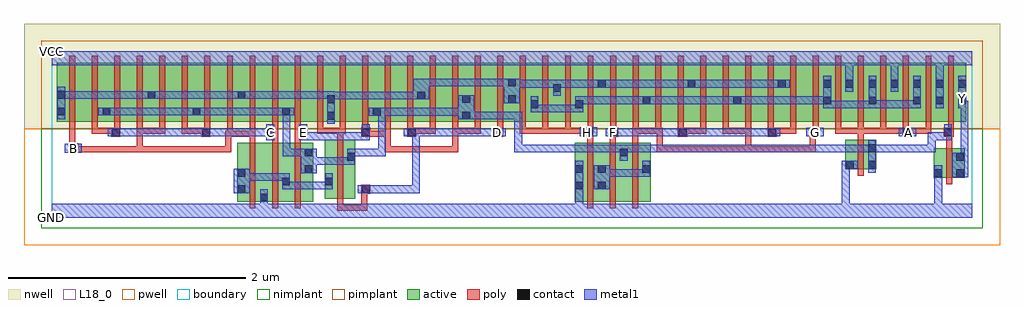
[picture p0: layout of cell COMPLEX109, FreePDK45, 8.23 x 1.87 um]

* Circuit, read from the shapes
.subckt COMPLEX109 A B C D E F G GND H VCC Y
M1 GND B n1 VSUBS nfet w=0.5u l=0.05u
M2 n1 C GND VSUBS nfet w=0.5u l=0.05u
M3 n2 E n1 VSUBS nfet w=0.5u l=0.05u
M4 n2 D n1 VSUBS nfet w=0.5u l=0.05u
M5 n3 H GND VSUBS nfet w=0.5u l=0.05u
M6 n2 F n3 VSUBS nfet w=0.5u l=0.05u
M7 n3 G n2 VSUBS nfet w=0.5u l=0.05u
M8 n2 A GND VSUBS nfet w=0.25u l=0.05u
M9 Y n2 GND VSUBS nfet w=0.25u l=0.05u
M10 n4 B n5 n6 pfet w=0.5u l=0.05u
M11 n2 C n4 n6 pfet w=0.5u l=0.05u
M12 n7 C n2 n6 pfet w=0.5u l=0.05u
M13 n5 B n7 n6 pfet w=0.5u l=0.05u
M14 n8 B n5 n6 pfet w=0.5u l=0.05u
M15 n2 C n8 n6 pfet w=0.5u l=0.05u
M16 n9 C n2 n6 pfet w=0.5u l=0.05u
M17 n5 B n9 n6 pfet w=0.5u l=0.05u
M18 n10 B n5 n6 pfet w=0.5u l=0.05u
M19 n2 C n10 n6 pfet w=0.5u l=0.05u
M20 n11 E n2 n6 pfet w=0.5u l=0.05u
M21 n5 D n11 n6 pfet w=0.5u l=0.05u
M22 n12 D n5 n6 pfet w=0.5u l=0.05u
M23 n2 E n12 n6 pfet w=0.5u l=0.05u
M24 n13 E n2 n6 pfet w=0.5u l=0.05u
M25 n5 D n13 n6 pfet w=0.5u l=0.05u
M26 n14 D n5 n6 pfet w=0.5u l=0.05u
M27 n2 E n14 n6 pfet w=0.5u l=0.05u
M28 n15 E n2 n6 pfet w=0.5u l=0.05u
M29 n5 D n15 n6 pfet w=0.5u l=0.05u
M30 n16 H n5 n6 pfet w=0.5u l=0.05u m=4
M31 n17 F n5 n6 pfet w=0.5u l=0.05u
M32 n16 G n17 n6 pfet w=0.5u l=0.05u
M33 n18 G n16 n6 pfet w=0.5u l=0.05u
M34 n5 F n18 n6 pfet w=0.5u l=0.05u
M35 n19 F n5 n6 pfet w=0.5u l=0.05u
M36 n16 G n19 n6 pfet w=0.5u l=0.05u
M37 n20 G n16 n6 pfet w=0.5u l=0.05u
M38 n5 F n20 n6 pfet w=0.5u l=0.05u
M39 n21 F n5 n6 pfet w=0.5u l=0.05u
M40 n16 G n21 n6 pfet w=0.5u l=0.05u
M41 VCC A n16 n6 pfet w=0.5u l=0.05u m=5
M42 Y n2 VCC n6 pfet w=0.5u l=0.05u
.ends

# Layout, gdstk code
import gdstk
lib = gdstk.Library(unit=1e-6, precision=1e-09)
def R(c, l, rs):  # rectangles x0, y0, x1, y1
    for r in rs: c.add(gdstk.rectangle(r[:2], r[2:], *l))
def A(c, l, x, y, w, h, nx, ny, dx, dy):  # array of equal rectangles
    R(c, l, [(x+i*dx, y+j*dy, x+i*dx+w, y+j*dy+h) for i in range(nx) for j in range(ny)])
active = (1, 0)
pwell = (2, 0)
nwell = (3, 0)
nimplant = (4, 0)
pimplant = (5, 0)
poly = (9, 0)
contact = (10, 0)
metal1 = (11, 0)
L18_0 = (18, 0)
boundary = (235, 0)

complex109 = lib.new_cell('COMPLEX109')
A(complex109, active, 0.042, 0.807, 0.225, 0.5, 5, 1, 0.38, 0)
A(complex109, active, 0.267, 0.807, 0.23, 0.5, 4, 1, 0.38, 0)
R(complex109, active, [(1.562,0.132,1.827,0.632), (1.752,0.132,2.012,0.632), (1.752,0.132,1.827,0.592), (1.937,0.132,2.202,0.632), (4.41,0.132,4.675,0.632), (4.41,0.132,4.485,0.592), (4.6,0.132,4.86,0.632), (4.785,0.132,5.05,0.632), (2.3,0.157,2.56,0.657), (1.562,0.195,1.637,0.632), (1.937,0.195,2.012,0.592), (2.127,0.195,2.202,0.632), (2.3,0.195,2.375,0.657), (2.485,0.195,2.56,0.657), (4.6,0.195,4.675,0.592), (4.785,0.195,4.86,0.592), (4.975,0.195,5.05,0.632), (7.437,0.335,7.512,0.585), (7.437,0.335,7.697,0.585), (7.622,0.335,7.697,0.585), (6.692,0.407,6.767,0.657), (6.692,0.407,6.952,0.657), (6.877,0.407,6.952,0.657), (0.042,0.807,0.147,1.2), (0.422,0.807,0.497,1.07), (0.802,0.807,0.877,1.2), (1.182,0.807,1.257,1.07), (1.562,0.807,1.637,1.2), (1.787,0.807,2.012,1.307), (1.937,0.807,2.167,1.307), (1.937,0.807,2.012,1.07), (2.167,0.807,2.392,1.307), (2.317,0.807,2.392,1.2), (2.317,0.807,2.547,1.307), (2.547,0.807,2.777,1.307), (2.702,0.807,2.927,1.307), (2.702,0.807,2.777,1.07), (2.927,0.807,3.152,1.307), (3.077,0.807,3.152,1.2), (3.077,0.807,3.307,1.307), (3.307,0.807,3.532,1.307), (3.457,0.807,3.687,1.307), (3.457,0.807,3.532,1.07), (3.687,0.807,3.917,1.307), (3.842,0.807,4.107,1.307), (3.842,0.807,3.917,1.2), (4.032,0.807,4.297,1.307), (4.032,0.807,4.107,1.07), (4.222,0.807,4.297,1.2), (4.222,0.807,4.485,1.307), (4.41,0.807,4.675,1.307), (4.41,0.807,4.485,1.07), (4.6,0.807,4.675,1.2), (4.6,0.807,4.827,1.307), (4.827,0.807,5.052,1.307), (4.977,0.807,5.207,1.307), (4.977,0.807,5.052,1.07), (5.207,0.807,5.432,1.307), (5.357,0.807,5.432,1.2), (5.357,0.807,5.587,1.307), (5.587,0.807,5.817,1.307), (5.742,0.807,5.967,1.307), (5.742,0.807,5.817,1.07), (5.967,0.807,6.192,1.307), (6.117,0.807,6.192,1.2), (6.117,0.807,6.347,1.307), (6.347,0.807,6.575,1.307), (6.5,0.807,6.575,1.2), (6.5,0.807,6.762,1.307), (6.687,0.807,6.762,1.307), (6.687,0.807,6.957,1.307), (6.882,0.807,7.142,1.307), (6.882,0.807,6.957,1.2), (7.067,0.807,7.332,1.307), (7.067,0.807,7.142,1.307), (7.257,0.807,7.332,1.2), (7.257,0.807,7.525,1.307), (7.45,0.807,7.712,1.307), (7.45,0.807,7.525,1.307), (7.637,0.807,7.712,1.2)])
R(complex109, pwell, [(-0.235,-0.235,7.995,0.75)])
R(complex109, nwell, [(-0.235,0.75,7.995,1.635)])
R(complex109, nimplant, [(-0.09,-0.09,7.85,0.75)])
R(complex109, pimplant, [(-0.09,0.75,7.85,1.49)])
A(complex109, poly, 1.667, 0.077, 0.05, 0.61, 3, 1, 0.19, 0)
A(complex109, poly, 4.515, 0.077, 0.05, 0.61, 3, 1, 0.19, 0)
A(complex109, poly, 5.335, 0.55, 0.05, 0.05, 3, 1, 0.19, 0)
A(complex109, poly, 1.667, 0.637, 0.05, 0.095, 3, 1, 0.19, 0)
A(complex109, poly, 0.337, 0.707, 0.05, 0.095, 6, 1, 0.19, 0)
A(complex109, poly, 1.857, 0.707, 0.05, 0.095, 5, 1, 0.19, 0)
A(complex109, poly, 2.997, 0.707, 0.05, 0.095, 25, 1, 0.19, 0)
A(complex109, poly, 4.137, 0.707, 0.24, 0.05, 3, 1, 0.76, 0)
A(complex109, poly, 5.467, 0.707, 0.05, 0.05, 3, 1, 0.19, 0)
A(complex109, poly, 0.147, 0.752, 0.05, 0.61, 40, 1, 0.19, 0)
R(complex109, poly, [(2.405,0.057,2.455,0.152), (2.405,0.057,2.455,0.107), (2.405,0.057,2.66,0.107), (2.61,0.057,2.66,0.107), (2.61,0.057,2.66,0.107), (2.61,0.057,2.66,0.107), (2.61,0.057,2.66,0.107), (2.61,0.057,2.66,0.107), (2.61,0.057,2.66,0.25), (2.405,0.102,2.455,0.712), (2.61,0.2,2.685,0.275), (7.542,0.28,7.592,0.64), (6.797,0.352,6.847,0.712), (0.147,0.55,0.222,0.625), (0.172,0.55,0.222,0.6), (0.172,0.55,0.222,0.6), (0.172,0.55,0.222,0.6), (0.172,0.55,0.222,0.6), (0.172,0.55,0.355,0.6), (0.305,0.55,0.355,0.6), (0.305,0.55,0.355,0.6), (0.305,0.55,0.355,0.6), (0.305,0.55,0.552,0.6), (0.502,0.55,0.552,0.6), (0.502,0.55,0.552,0.6), (0.502,0.55,0.552,0.6), (0.502,0.55,0.685,0.6), (0.635,0.55,0.685,0.6), (0.635,0.55,0.767,0.6), (0.717,0.55,0.767,0.6), (0.717,0.55,0.767,0.6), (0.717,0.55,0.767,0.6), (0.717,0.55,0.767,0.757), (0.717,0.55,0.817,0.6), (0.767,0.55,0.817,0.6), (0.767,0.55,1.015,0.6), (0.965,0.55,1.015,0.6), (0.965,0.55,1.015,0.6), (0.965,0.55,1.015,0.6), (0.965,0.55,1.147,0.6), (1.097,0.55,1.147,0.6), (1.097,0.55,1.28,0.6), (1.23,0.55,1.28,0.6), (1.23,0.55,1.28,0.6), (1.23,0.55,1.28,0.6), (1.23,0.55,1.512,0.6), (1.462,0.55,1.512,0.6), (1.462,0.55,1.512,0.6), (1.462,0.55,1.512,0.6), (1.462,0.55,1.512,0.732), (2.807,0.55,2.857,0.6), (2.807,0.55,2.857,0.732), (2.807,0.55,2.925,0.6), (2.875,0.55,2.925,0.6), (2.875,0.55,3.057,0.6), (3.007,0.55,3.057,0.6), (3.007,0.55,3.057,0.6), (3.007,0.55,3.057,0.6), (3.007,0.55,3.295,0.6), (3.245,0.55,3.295,0.6), (3.245,0.55,3.427,0.6), (3.377,0.55,3.427,0.6), (3.377,0.55,3.427,0.6), (3.377,0.55,3.427,0.6), (3.377,0.55,3.427,0.757), (5.1,0.55,5.15,0.6), (5.1,0.55,5.15,0.6), (5.1,0.55,5.15,0.6), (5.1,0.55,5.15,0.757), (5.1,0.55,5.385,0.6), (5.335,0.55,5.385,0.6), (5.335,0.55,5.385,0.6), (5.335,0.55,5.575,0.6), (5.525,0.55,5.765,0.6), (5.715,0.55,5.765,0.6), (5.715,0.55,5.765,0.6), (5.715,0.55,5.897,0.6), (5.847,0.55,5.897,0.6), (5.847,0.55,5.897,0.6), (5.847,0.55,5.897,0.6), (5.847,0.55,5.897,0.6), (5.847,0.55,5.897,0.6), (5.847,0.55,6.03,0.6), (5.847,0.55,5.897,0.757), (5.98,0.55,6.03,0.6), (5.98,0.55,6.03,0.6), (5.98,0.55,6.03,0.6), (5.98,0.55,6.257,0.6), (6.207,0.55,6.257,0.6), (6.207,0.55,6.257,0.6), (6.207,0.55,6.257,0.6), (6.207,0.55,6.442,0.6), (6.392,0.55,6.442,0.6), (6.392,0.55,6.442,0.6), (6.392,0.55,6.442,0.6), (6.392,0.55,6.442,0.6), (6.392,0.55,6.442,0.6), (6.392,0.55,6.442,0.732), (0.147,0.575,0.197,0.802), (7.542,0.59,7.592,0.732), (4.515,0.637,4.565,0.732), (4.705,0.637,4.755,0.732), (4.895,0.637,4.945,0.757), (2.405,0.662,2.455,0.757), (6.797,0.662,6.847,0.757), (0.502,0.682,0.577,0.757), (1.262,0.682,1.337,0.757), (1.462,0.682,1.512,0.732), (1.462,0.682,1.512,0.732), (1.462,0.682,1.527,0.732), (1.477,0.682,1.717,0.732), (1.477,0.682,1.527,0.802), (1.667,0.682,1.717,0.732), (1.667,0.682,1.717,0.732), (1.667,0.682,1.717,0.732), (1.667,0.682,1.717,0.802), (1.805,0.682,1.907,0.757), (2.047,0.682,2.155,0.757), (2.61,0.682,2.685,0.757), (2.635,0.682,2.792,0.732), (2.742,0.682,2.792,0.732), (2.742,0.682,2.857,0.732), (2.807,0.682,2.857,0.732), (2.807,0.682,2.857,0.732), (2.807,0.682,2.857,0.732), (2.807,0.682,2.857,0.802), (2.997,0.682,3.072,0.757), (3.722,0.682,3.807,0.757), (4.492,0.682,4.567,0.757), (4.702,0.682,4.777,0.757), (5.277,0.682,5.357,0.757), (6.037,0.682,6.112,0.757), (6.392,0.682,6.467,0.757), (7.17,0.682,7.245,0.757), (7.52,0.682,7.607,0.757), (0.337,0.707,0.387,0.757), (0.337,0.707,0.552,0.757), (0.502,0.707,0.552,0.757), (0.502,0.707,0.552,0.757), (0.717,0.707,0.767,0.757), (0.717,0.707,0.882,0.757), (0.832,0.707,0.882,0.757), (0.832,0.707,0.957,0.757), (0.907,0.707,0.957,0.757), (1.097,0.707,1.147,0.757), (1.097,0.707,1.312,0.757), (1.262,0.707,1.312,0.757), (1.262,0.707,1.312,0.757), (2.237,0.707,2.287,0.757), (2.237,0.707,2.287,0.757), (2.237,0.707,2.287,0.757), (2.237,0.707,2.455,0.757), (2.405,0.707,2.477,0.757), (3.022,0.707,3.072,0.757), (3.022,0.707,3.072,0.757), (3.022,0.707,3.237,0.757), (3.187,0.707,3.237,0.757), (3.377,0.707,3.427,0.757), (3.377,0.707,3.427,0.757), (3.377,0.707,3.427,0.757), (3.377,0.707,3.617,0.757), (3.567,0.707,3.617,0.757), (3.567,0.707,3.617,0.757), (3.567,0.707,3.617,0.757), (3.947,0.707,3.997,0.757), (3.947,0.707,3.997,0.757), (3.947,0.707,3.997,0.757), (3.947,0.707,4.187,0.757), (4.137,0.707,4.187,0.757), (4.137,0.707,4.187,0.757), (4.137,0.707,4.187,0.757), (4.327,0.707,4.377,0.757), (4.327,0.707,4.377,0.757), (4.327,0.707,4.377,0.757), (4.327,0.707,4.542,0.757), (4.895,0.707,4.947,0.757), (4.897,0.707,4.947,0.757), (4.897,0.707,4.947,0.757), (5.087,0.707,5.15,0.757), (5.1,0.707,5.15,0.757), (5.1,0.707,5.15,0.757), (5.307,0.707,5.517,0.757), (5.467,0.707,5.517,0.757), (5.467,0.707,5.517,0.757), (5.847,0.707,5.897,0.757), (5.847,0.707,5.897,0.757), (6.062,0.707,6.277,0.757), (6.227,0.707,6.277,0.757), (6.227,0.707,6.277,0.757), (6.227,0.707,6.277,0.757), (6.607,0.707,6.657,0.757), (6.607,0.707,6.847,0.757), (6.797,0.707,6.847,0.757), (6.797,0.707,6.847,0.757), (6.797,0.707,6.847,0.757), (6.797,0.707,6.98,0.757), (6.93,0.707,6.98,0.757), (6.93,0.707,7.037,0.757), (6.987,0.707,7.037,0.757), (6.987,0.707,7.112,0.757), (7.062,0.707,7.112,0.757), (7.062,0.707,7.22,0.757), (7.195,0.707,7.417,0.757), (7.195,0.707,7.245,0.757), (7.195,0.707,7.245,0.757), (7.367,0.707,7.417,0.757)])
R(complex109, contact, [(1.757,0.137,1.822,0.202), (1.567,0.205,1.632,0.27), (2.615,0.205,2.68,0.27), (4.415,0.237,4.48,0.302), (4.605,0.237,4.67,0.302), (1.942,0.272,2.007,0.337), (2.305,0.272,2.37,0.337), (7.442,0.34,7.507,0.405), (7.627,0.34,7.692,0.405), (1.567,0.345,1.632,0.41), (2.132,0.375,2.197,0.44), (4.415,0.377,4.48,0.442), (4.605,0.377,4.67,0.442), (4.98,0.377,5.045,0.442), (6.697,0.412,6.762,0.477), (6.882,0.412,6.947,0.477), (2.49,0.48,2.555,0.545), (7.627,0.48,7.692,0.545), (2.132,0.515,2.197,0.58), (4.79,0.515,4.855,0.58), (6.882,0.552,6.947,0.617), (0.152,0.555,0.217,0.62), (0.507,0.687,0.572,0.752), (1.267,0.687,1.332,0.752), (1.81,0.687,1.875,0.752), (2.085,0.687,2.15,0.752), (2.615,0.687,2.68,0.752), (3.002,0.687,3.067,0.752), (3.727,0.687,3.792,0.752), (4.497,0.687,4.562,0.752), (4.707,0.687,4.772,0.752), (5.287,0.687,5.352,0.752), (6.042,0.687,6.107,0.752), (6.397,0.687,6.462,0.752), (7.175,0.687,7.24,0.752), (7.525,0.687,7.59,0.752), (2.322,0.825,2.387,0.89), (3.462,0.827,3.527,0.892), (2.707,0.86,2.772,0.925), (0.047,0.862,0.112,0.927), (0.427,0.862,0.492,0.927), (1.187,0.862,1.252,0.927), (1.942,0.862,2.007,0.927), (4.037,0.922,4.102,0.987), (4.415,0.922,4.48,0.987), (6.505,0.955,6.57,1.02), (6.887,0.955,6.952,1.02), (7.262,0.955,7.327,1.02), (7.455,0.955,7.52,1.02), (7.642,0.955,7.707,1.02), (4.982,0.957,5.047,1.022), (5.747,0.957,5.812,1.022), (2.322,0.965,2.387,1.03), (3.847,0.965,3.912,1.03), (3.462,0.967,3.527,1.032), (3.082,0.997,3.147,1.062), (0.807,1,0.872,1.065), (1.567,1,1.632,1.065), (0.047,1.002,0.112,1.067), (4.227,1.06,4.292,1.125), (4.605,1.095,4.67,1.16), (5.362,1.095,5.427,1.16), (6.122,1.095,6.187,1.16), (6.505,1.095,6.57,1.16), (6.692,1.095,6.757,1.16), (6.887,1.095,6.952,1.16), (7.072,1.095,7.137,1.16), (7.262,1.095,7.327,1.16), (7.455,1.095,7.52,1.16), (7.642,1.095,7.707,1.16), (3.847,1.105,3.912,1.17)])
R(complex109, metal1, [(0,0,7.76,0.115), (1.757,0.05,1.822,0.132), (4.415,0.05,4.48,0.115), (4.415,0.05,4.48,0.115), (4.415,0.05,4.48,0.267), (6.662,0.05,6.727,0.115), (6.662,0.05,6.727,0.115), (6.662,0.05,6.727,0.115), (6.662,0.05,6.727,0.115), (6.662,0.05,6.727,0.115), (6.662,0.05,6.727,0.115), (6.662,0.05,6.727,0.477), (7.442,0.05,7.507,0.115), (7.442,0.05,7.507,0.115), (7.442,0.05,7.507,0.115), (7.442,0.05,7.507,0.115), (7.442,0.05,7.507,0.115), (7.442,0.05,7.507,0.115), (7.442,0.05,7.507,0.37), (1.757,0.067,1.822,0.132), (1.757,0.067,1.822,0.132), (1.757,0.067,1.822,0.237), (4.415,0.202,4.48,0.477), (1.532,0.205,1.667,0.41), (2.58,0.205,2.715,0.27), (2.65,0.205,2.715,0.27), (2.65,0.205,2.715,0.27), (2.65,0.205,2.895,0.27), (2.83,0.205,2.895,0.27), (2.83,0.205,2.955,0.27), (2.89,0.205,2.955,0.27), (2.89,0.205,3.102,0.27), (3.037,0.205,3.102,0.27), (3.037,0.205,3.102,0.27), (3.037,0.205,3.102,0.27), (3.037,0.205,3.102,0.615), (1.942,0.237,2.15,0.302), (1.942,0.237,2.007,0.375), (2.085,0.237,2.15,0.302), (2.085,0.237,2.15,0.302), (2.085,0.237,2.15,0.302), (2.085,0.237,2.37,0.302), (2.305,0.237,2.37,0.302), (2.305,0.237,2.37,0.302), (2.305,0.237,2.37,0.372), (4.57,0.237,4.705,0.442), (7.442,0.305,7.507,0.44), (1.602,0.31,1.667,0.375), (1.602,0.31,1.667,0.375), (1.602,0.31,1.832,0.375), (1.767,0.31,1.832,0.375), (1.767,0.31,1.832,0.375), (1.767,0.31,1.832,0.375), (1.767,0.31,2.007,0.375), (7.592,0.34,7.727,0.545), (4.64,0.342,4.705,0.407), (4.64,0.342,4.705,0.407), (4.64,0.342,4.842,0.407), (4.777,0.342,4.842,0.407), (4.777,0.342,5.012,0.407), (4.947,0.342,5.012,0.407), (4.947,0.342,5.045,0.407), (4.98,0.342,5.045,0.477), (2.097,0.375,2.232,0.58), (6.882,0.377,6.947,0.652), (6.662,0.412,6.797,0.477), (2.167,0.445,2.37,0.51), (2.305,0.445,2.37,0.51), (2.305,0.445,2.37,0.51), (2.305,0.445,2.37,0.51), (2.305,0.445,2.507,0.51), (2.442,0.445,2.507,0.51), (2.442,0.445,2.555,0.51), (2.49,0.445,2.555,0.58), (4.79,0.48,4.855,0.615), (7.662,0.48,7.727,0.545), (7.662,0.48,7.727,0.545), (7.662,0.48,7.727,0.545), (7.662,0.48,7.727,0.545), (7.662,0.48,7.727,0.985), (1.947,0.515,2.012,0.58), (1.947,0.515,2.162,0.58), (1.947,0.515,2.012,0.927), (2.097,0.515,2.162,0.58), (2.097,0.515,2.162,0.58), (2.49,0.515,2.715,0.58), (2.65,0.515,2.715,0.58), (2.65,0.515,2.817,0.58), (2.752,0.515,2.817,0.58), (2.752,0.515,2.817,0.925), (0.11,0.547,0.252,0.62), (3.037,0.55,3.102,0.615), (3.037,0.55,3.102,0.615), (3.037,0.55,3.102,0.752), (3.9,0.55,3.965,0.615), (3.9,0.55,3.965,0.615), (3.9,0.55,3.965,0.615), (3.9,0.55,4.155,0.615), (3.9,0.55,3.965,0.892), (4.09,0.55,4.155,0.615), (4.09,0.55,4.155,0.615), (4.09,0.55,4.155,0.615), (4.09,0.55,4.155,0.615), (4.09,0.55,4.155,0.615), (4.09,0.55,4.342,0.615), (4.277,0.55,4.342,0.615), (4.277,0.55,4.342,0.615), (4.277,0.55,4.342,0.615), (4.277,0.55,4.48,0.615), (4.415,0.55,4.48,0.615), (4.415,0.55,4.48,0.615), (4.415,0.55,4.48,0.615), (4.415,0.55,4.617,0.615), (4.552,0.55,4.617,0.615), (4.552,0.55,4.855,0.615), (4.79,0.55,4.855,0.615), (4.79,0.55,4.855,0.615), (4.79,0.55,5.012,0.615), (4.947,0.55,5.012,0.615), (4.947,0.55,5.012,0.615), (4.947,0.55,5.012,0.615), (4.947,0.55,5.15,0.615), (5.085,0.55,5.15,0.615), (5.085,0.55,5.22,0.615), (5.155,0.55,5.22,0.615), (5.155,0.55,5.462,0.615), (5.397,0.55,5.462,0.615), (5.397,0.55,5.462,0.615), (5.397,0.55,5.462,0.615), (5.397,0.55,5.6,0.615), (5.535,0.55,5.6,0.615), (5.535,0.55,5.6,0.615), (5.535,0.55,5.6,0.615), (5.535,0.55,5.737,0.615), (5.672,0.55,5.737,0.615), (5.672,0.55,5.737,0.615), (5.672,0.55,5.737,0.615), (5.672,0.55,5.91,0.615), (5.845,0.55,5.91,0.615), (5.845,0.55,6.01,0.615), (5.945,0.55,6.01,0.615), (5.945,0.55,6.147,0.615), (6.082,0.55,6.147,0.615), (6.082,0.55,6.147,0.615), (6.082,0.55,6.147,0.615), (6.082,0.55,6.285,0.615), (6.22,0.55,6.285,0.615), (6.22,0.55,6.432,0.615), (6.367,0.55,6.432,0.615), (6.367,0.55,6.432,0.615), (6.367,0.55,6.432,0.615), (6.367,0.55,6.572,0.615), (6.507,0.55,6.572,0.615), (6.507,0.55,6.572,0.615), (6.507,0.55,6.572,0.615), (6.507,0.55,6.71,0.615), (6.645,0.55,6.71,0.615), (6.645,0.55,6.71,0.615), (6.645,0.55,6.71,0.615), (6.645,0.55,6.947,0.615), (6.882,0.55,6.947,0.615), (6.882,0.55,6.947,0.615), (6.882,0.55,7.177,0.615), (7.112,0.55,7.177,0.615), (7.112,0.55,7.315,0.615), (7.25,0.55,7.315,0.615), (7.25,0.55,7.315,0.615), (7.25,0.55,7.315,0.615), (7.25,0.55,7.452,0.615), (7.387,0.55,7.452,0.615), (7.387,0.55,7.452,0.615), (7.387,0.55,7.452,0.717), (1.807,0.652,1.875,0.787), (2.085,0.652,2.152,0.787), (2.087,0.652,2.152,0.717), (2.087,0.652,2.152,0.717), (2.087,0.652,2.37,0.717), (2.305,0.652,2.37,0.717), (2.305,0.652,2.37,0.717), (2.305,0.652,2.37,0.717), (2.305,0.652,2.507,0.717), (2.442,0.652,2.507,0.717), (2.442,0.652,2.525,0.717), (2.46,0.652,2.525,0.717), (2.46,0.652,2.68,0.717), (2.615,0.652,2.68,0.787), (7.387,0.652,7.452,0.717), (7.387,0.652,7.452,0.717), (7.387,0.652,7.59,0.717), (7.525,0.652,7.59,0.787), (0.472,0.687,0.607,0.752), (0.542,0.687,0.7,0.752), (0.635,0.687,0.7,0.752), (0.635,0.687,0.837,0.752), (0.772,0.687,0.837,0.752), (0.772,0.687,0.837,0.752), (0.772,0.687,0.837,0.752), (0.772,0.687,1.01,0.752), (0.945,0.687,1.01,0.752), (0.945,0.687,1.08,0.752), (1.015,0.687,1.08,0.752), (1.015,0.687,1.147,0.752), (1.082,0.687,1.147,0.752), (1.082,0.687,1.297,0.752), (1.232,0.687,1.297,0.752), (1.232,0.687,1.297,0.752), (1.232,0.687,1.367,0.752), (1.302,0.687,1.435,0.752), (1.37,0.687,1.435,0.752), (1.37,0.687,1.505,0.752), (1.44,0.687,1.505,0.752), (1.44,0.687,1.685,0.752), (1.62,0.687,1.685,0.752), (1.62,0.687,1.685,0.752), (1.62,0.687,1.685,0.752), (1.62,0.687,1.832,0.752), (1.767,0.687,1.832,0.752), (1.767,0.687,1.872,0.752), (2.967,0.687,3.102,0.752), (3.037,0.687,3.102,0.752), (3.037,0.687,3.102,0.752), (3.037,0.687,3.102,0.752), (3.037,0.687,3.32,0.752), (3.255,0.687,3.32,0.752), (3.255,0.687,3.32,0.752), (3.255,0.687,3.32,0.752), (3.255,0.687,3.462,0.752), (3.397,0.687,3.462,0.752), (3.397,0.687,3.6,0.752), (3.535,0.687,3.6,0.752), (3.535,0.687,3.6,0.752), (3.535,0.687,3.6,0.752), (3.535,0.687,3.737,0.752), (3.672,0.687,3.737,0.752), (3.672,0.687,3.737,0.752), (3.672,0.687,3.737,0.752), (3.672,0.687,3.757,0.752), (3.692,0.687,3.827,0.752), (4.452,0.687,4.597,0.76), (4.672,0.687,4.807,0.752), (4.742,0.687,4.842,0.752), (4.777,0.687,4.842,0.752), (4.777,0.687,5.012,0.752), (4.947,0.687,5.012,0.752), (4.947,0.687,5.012,0.752), (4.947,0.687,5.012,0.752), (4.947,0.687,5.18,0.752), (5.115,0.687,5.18,0.752), (5.115,0.687,5.25,0.752), (5.185,0.687,5.25,0.752), (5.185,0.687,5.317,0.752), (5.252,0.687,5.387,0.752), (5.322,0.687,5.387,0.752), (5.322,0.687,5.387,0.752), (5.322,0.687,5.6,0.752), (5.535,0.687,5.6,0.752), (5.535,0.687,5.6,0.752), (5.535,0.687,5.6,0.752), (5.535,0.687,5.772,0.752), (5.707,0.687,5.772,0.752), (5.707,0.687,5.772,0.752), (5.707,0.687,5.772,0.752), (5.707,0.687,5.91,0.752), (5.845,0.687,5.91,0.752), (5.845,0.687,6.01,0.752), (5.945,0.687,6.01,0.752), (5.945,0.687,6.072,0.752), (6.007,0.687,6.142,0.752), (6.36,0.687,6.507,0.757), (7.14,0.687,7.287,0.757), (2.322,0.79,2.387,1.065), (0.047,0.827,0.112,1.102), (3.427,0.827,3.562,1.032), (3.497,0.827,3.6,0.892), (3.535,0.827,3.6,0.892), (3.535,0.827,3.737,0.892), (3.672,0.827,3.737,0.892), (3.672,0.827,3.737,0.892), (3.672,0.827,3.737,0.892), (3.672,0.827,3.965,0.892), (3.9,0.827,3.965,0.892), (2.672,0.86,2.817,0.925), (2.752,0.86,2.817,0.925), (2.752,0.86,2.817,0.925), (2.752,0.86,2.852,0.925), (2.787,0.86,2.852,0.925), (2.787,0.86,2.955,0.925), (2.89,0.86,2.955,0.925), (2.89,0.86,3.182,0.925), (3.117,0.86,3.182,0.925), (3.117,0.86,3.182,0.925), (3.117,0.86,3.182,0.925), (3.117,0.86,3.325,0.925), (3.26,0.86,3.325,0.925), (3.26,0.86,3.325,0.925), (3.26,0.86,3.325,0.925), (3.26,0.86,3.462,0.925), (3.397,0.86,3.462,0.925), (3.397,0.86,3.492,0.925), (0.392,0.862,0.527,0.927), (0.462,0.862,0.527,0.927), (0.462,0.862,0.527,0.927), (0.462,0.862,0.7,0.927), (0.635,0.862,0.7,0.927), (0.635,0.862,0.872,0.927), (0.807,0.862,0.872,0.927), (0.807,0.862,0.872,0.927), (0.807,0.862,0.872,0.927), (0.807,0.862,1.01,0.927), (0.945,0.862,1.01,0.927), (0.945,0.862,1.08,0.927), (1.015,0.862,1.08,0.927), (1.015,0.862,1.147,0.927), (1.082,0.862,1.147,0.927), (1.082,0.862,1.217,0.927), (1.152,0.862,1.287,0.927), (1.222,0.862,1.287,0.927), (1.222,0.862,1.287,0.927), (1.222,0.862,1.435,0.927), (1.37,0.862,1.435,0.927), (1.37,0.862,1.505,0.927), (1.44,0.862,1.505,0.927), (1.44,0.862,1.642,0.927), (1.577,0.862,1.642,0.927), (1.577,0.862,1.642,0.927), (1.577,0.862,1.642,0.927), (1.577,0.862,1.832,0.927), (1.767,0.862,1.832,0.927), (1.767,0.862,1.832,0.927), (1.767,0.862,1.832,0.927), (1.767,0.862,1.972,0.927), (1.907,0.862,2.042,0.927), (1.947,0.862,2.012,0.927), (1.947,0.862,2.012,0.927), (4.037,0.887,4.102,0.952), (4.037,0.887,4.102,0.952), (4.037,0.887,4.102,1.022), (4.037,0.887,4.292,0.952), (4.227,0.887,4.292,0.952), (4.227,0.887,4.292,0.952), (4.227,0.887,4.292,0.952), (4.227,0.887,4.48,0.952), (4.415,0.887,4.48,1.022), (6.505,0.92,6.57,0.985), (6.505,0.92,6.57,0.985), (6.505,0.92,6.57,1.195), (6.505,0.92,6.71,0.985), (6.645,0.92,6.71,0.985), (6.645,0.92,6.71,0.985), (6.645,0.92,6.71,0.985), (6.645,0.92,6.952,0.985), (6.887,0.92,6.952,1.195), (7.262,0.92,7.327,1.195), (7.455,0.92,7.52,1.195), (7.642,0.92,7.712,1.195), (7.647,0.92,7.712,0.985), (7.647,0.92,7.727,0.985), (6.887,0.922,6.952,0.987), (6.887,0.922,6.952,0.987), (6.887,0.922,7.177,0.987), (7.112,0.922,7.177,0.987), (7.112,0.922,7.177,0.987), (7.112,0.922,7.177,0.987), (7.112,0.922,7.327,0.987), (4.415,0.957,4.48,1.022), (4.415,0.957,4.48,1.022), (4.415,0.957,4.617,1.022), (4.552,0.957,4.617,1.022), (4.552,0.957,4.742,1.022), (4.677,0.957,4.742,1.022), (4.677,0.957,4.842,1.022), (4.777,0.957,4.842,1.022), (4.777,0.957,5.012,1.022), (4.947,0.957,5.012,1.022), (4.947,0.957,5.012,1.022), (4.947,0.957,5.082,1.022), (5.017,0.957,5.18,1.022), (5.115,0.957,5.18,1.022), (5.115,0.957,5.22,1.022), (5.155,0.957,5.22,1.022), (5.155,0.957,5.387,1.022), (5.322,0.957,5.387,1.022), (5.322,0.957,5.387,1.022), (5.322,0.957,5.387,1.022), (5.322,0.957,5.6,1.022), (5.535,0.957,5.6,1.022), (5.535,0.957,5.6,1.022), (5.535,0.957,5.6,1.022), (5.535,0.957,5.772,1.022), (5.707,0.957,5.772,1.022), (5.707,0.957,5.777,1.022), (5.712,0.957,5.847,1.022), (5.782,0.957,5.91,1.022), (5.845,0.957,5.91,1.022), (5.845,0.957,6.01,1.022), (5.945,0.957,6.01,1.022), (5.945,0.957,6.147,1.022), (6.082,0.957,6.147,1.022), (6.082,0.957,6.285,1.022), (6.22,0.957,6.285,1.022), (6.22,0.957,6.285,1.022), (6.22,0.957,6.285,1.022), (6.22,0.957,6.432,1.022), (6.367,0.957,6.432,1.022), (6.367,0.957,6.432,1.022), (6.367,0.957,6.432,1.022), (6.367,0.957,6.57,1.022), (3.812,0.965,3.947,1.17), (2.322,0.997,2.507,1.062), (2.442,0.997,2.507,1.062), (2.442,0.997,2.572,1.062), (2.507,0.997,2.572,1.062), (2.507,0.997,2.572,1.062), (2.507,0.997,2.572,1.062), (2.507,0.997,2.645,1.062), (2.58,0.997,2.645,1.062), (2.58,0.997,2.71,1.062), (2.645,0.997,2.71,1.062), (2.645,0.997,2.895,1.062), (2.83,0.997,2.895,1.062), (2.83,0.997,2.955,1.062), (2.89,0.997,2.955,1.062), (2.89,0.997,3.112,1.062), (3.047,0.997,3.112,1.062), (3.047,0.997,3.112,1.062), (3.047,0.997,3.182,1.17), (0.047,1,0.112,1.065), (0.047,1,0.112,1.065), (0.047,1,0.32,1.065), (0.255,1,0.32,1.065), (0.255,1,0.32,1.065), (0.255,1,0.32,1.065), (0.255,1,0.527,1.065), (0.462,1,0.527,1.065), (0.462,1,0.527,1.065), (0.462,1,0.527,1.065), (0.462,1,0.665,1.065), (0.6,1,0.665,1.065), (0.6,1,0.837,1.065), (0.772,1,0.837,1.065), (0.772,1,0.837,1.065), (0.772,1,0.907,1.065), (0.842,1,1.01,1.065), (0.945,1,1.01,1.065), (0.945,1,1.08,1.065), (1.015,1,1.08,1.065), (1.015,1,1.147,1.065), (1.082,1,1.147,1.065), (1.082,1,1.297,1.065), (1.232,1,1.297,1.065), (1.232,1,1.297,1.065), (1.232,1,1.297,1.065), (1.232,1,1.435,1.065), (1.37,1,1.435,1.065), (1.37,1,1.505,1.065), (1.44,1,1.505,1.065), (1.44,1,1.597,1.065), (1.532,1,1.667,1.065), (1.602,1,1.667,1.065), (1.602,1,1.667,1.065), (1.602,1,1.832,1.065), (1.767,1,1.832,1.065), (1.767,1,1.97,1.065), (1.905,1,1.97,1.065), (1.905,1,1.97,1.065), (1.905,1,1.97,1.065), (1.905,1,2.15,1.065), (2.085,1,2.15,1.065), (2.085,1,2.15,1.065), (2.085,1,2.15,1.065), (2.085,1,2.3,1.065), (2.235,1,2.3,1.065), (2.235,1,2.387,1.065), (4.227,1.025,4.292,1.16), (6.692,1.06,6.757,1.195), (7.072,1.06,7.137,1.195), (3.882,1.095,3.965,1.16), (3.9,1.095,3.965,1.16), (3.9,1.095,4.155,1.16), (4.09,1.095,4.155,1.16), (4.09,1.095,4.155,1.16), (4.09,1.095,4.155,1.16), (4.09,1.095,4.292,1.16), (4.227,1.095,4.292,1.16), (4.227,1.095,4.292,1.16), (4.227,1.095,4.48,1.16), (4.415,1.095,4.48,1.16), (4.415,1.095,4.48,1.16), (4.415,1.095,4.48,1.16), (4.415,1.095,4.635,1.16), (4.57,1.095,4.705,1.16), (4.64,1.095,4.842,1.16), (4.777,1.095,4.842,1.16), (4.777,1.095,4.842,1.16), (4.777,1.095,4.842,1.16), (4.777,1.095,4.992,1.16), (4.927,1.095,4.992,1.16), (4.927,1.095,4.992,1.16), (4.927,1.095,4.992,1.16), (4.927,1.095,5.15,1.16), (5.085,1.095,5.15,1.16), (5.085,1.095,5.22,1.16), (5.155,1.095,5.22,1.16), (5.155,1.095,5.392,1.16), (5.327,1.095,5.392,1.16), (5.327,1.095,5.392,1.16), (5.327,1.095,5.462,1.16), (5.397,1.095,5.6,1.16), (5.535,1.095,5.6,1.16), (5.535,1.095,5.6,1.16), (5.535,1.095,5.6,1.16), (5.535,1.095,5.737,1.16), (5.672,1.095,5.737,1.16), (5.672,1.095,5.737,1.16), (5.672,1.095,5.737,1.16), (5.672,1.095,5.91,1.16), (5.845,1.095,5.91,1.16), (5.845,1.095,6.01,1.16), (5.945,1.095,6.01,1.16), (5.945,1.095,6.147,1.16), (6.082,1.095,6.147,1.16), (6.082,1.095,6.147,1.16), (6.082,1.095,6.222,1.16), (3.117,1.105,3.32,1.17), (3.255,1.105,3.32,1.17), (3.255,1.105,3.32,1.17), (3.255,1.105,3.32,1.17), (3.255,1.105,3.462,1.17), (3.397,1.105,3.462,1.17), (3.397,1.105,3.462,1.17), (3.397,1.105,3.462,1.17), (3.397,1.105,3.6,1.17), (3.535,1.105,3.6,1.17), (3.535,1.105,3.737,1.17), (3.672,1.105,3.737,1.17), (3.672,1.105,3.737,1.17), (3.672,1.105,3.737,1.17), (3.672,1.105,3.877,1.17), (6.692,1.13,6.757,1.35), (7.072,1.13,7.137,1.35), (7.455,1.13,7.52,1.35), (0,1.285,7.76,1.4)])
R(complex109, L18_0, [(0,0,7.76,0.115), (1.757,0.05,1.822,0.132), (4.415,0.05,4.48,0.115), (4.415,0.05,4.48,0.115), (4.415,0.05,4.48,0.267), (6.662,0.05,6.727,0.115), (6.662,0.05,6.727,0.115), (6.662,0.05,6.727,0.115), (6.662,0.05,6.727,0.115), (6.662,0.05,6.727,0.115), (6.662,0.05,6.727,0.115), (6.662,0.05,6.727,0.477), (7.442,0.05,7.507,0.115), (7.442,0.05,7.507,0.115), (7.442,0.05,7.507,0.115), (7.442,0.05,7.507,0.115), (7.442,0.05,7.507,0.115), (7.442,0.05,7.507,0.115), (7.442,0.05,7.507,0.37), (1.757,0.067,1.822,0.132), (1.757,0.067,1.822,0.132), (1.757,0.067,1.822,0.237), (4.415,0.202,4.48,0.477), (2.58,0.205,2.715,0.27), (2.65,0.205,2.715,0.27), (2.65,0.205,2.715,0.27), (2.65,0.205,2.895,0.27), (2.83,0.205,2.895,0.27), (2.83,0.205,2.955,0.27), (2.89,0.205,2.955,0.27), (2.89,0.205,3.102,0.27), (3.037,0.205,3.102,0.27), (3.037,0.205,3.102,0.27), (3.037,0.205,3.102,0.27), (3.037,0.205,3.102,0.615), (7.442,0.305,7.507,0.44), (7.592,0.34,7.727,0.545), (6.662,0.412,6.797,0.477), (7.662,0.48,7.727,0.545), (7.662,0.48,7.727,0.545), (7.662,0.48,7.727,0.545), (7.662,0.48,7.727,0.545), (7.662,0.48,7.727,0.985), (0.11,0.547,0.252,0.62), (0.147,0.547,0.212,0.612), (3.037,0.55,3.102,0.615), (3.037,0.55,3.102,0.615), (3.037,0.55,3.102,0.752), (1.807,0.652,1.875,0.787), (2.085,0.652,2.152,0.787), (2.087,0.652,2.152,0.717), (2.087,0.652,2.152,0.717), (2.087,0.652,2.37,0.717), (2.305,0.652,2.37,0.717), (2.305,0.652,2.37,0.717), (2.305,0.652,2.37,0.717), (2.305,0.652,2.507,0.717), (2.442,0.652,2.507,0.717), (2.442,0.652,2.525,0.717), (2.46,0.652,2.525,0.717), (2.46,0.652,2.68,0.717), (2.615,0.652,2.68,0.787), (0.472,0.687,0.607,0.752), (0.542,0.687,0.7,0.752), (0.635,0.687,0.7,0.752), (0.635,0.687,0.837,0.752), (0.772,0.687,0.837,0.752), (0.772,0.687,0.837,0.752), (0.772,0.687,0.837,0.752), (0.772,0.687,1.01,0.752), (0.945,0.687,1.08,0.752), (0.945,0.687,1.01,0.752), (1.015,0.687,1.08,0.752), (1.015,0.687,1.147,0.752), (1.082,0.687,1.147,0.752), (1.082,0.687,1.297,0.752), (1.232,0.687,1.367,0.752), (1.232,0.687,1.297,0.752), (1.232,0.687,1.297,0.752), (1.302,0.687,1.435,0.752), (1.37,0.687,1.505,0.752), (1.37,0.687,1.435,0.752), (1.44,0.687,1.505,0.752), (1.44,0.687,1.685,0.752), (1.62,0.687,1.685,0.752), (1.62,0.687,1.685,0.752), (1.62,0.687,1.685,0.752), (1.62,0.687,1.832,0.752), (1.767,0.687,1.832,0.752), (1.767,0.687,1.872,0.752), (1.807,0.687,1.872,0.752), (2.087,0.687,2.152,0.752), (2.967,0.687,3.102,0.752), (3.037,0.687,3.102,0.752), (3.037,0.687,3.102,0.752), (3.037,0.687,3.102,0.752), (3.037,0.687,3.32,0.752), (3.255,0.687,3.32,0.752), (3.255,0.687,3.32,0.752), (3.255,0.687,3.32,0.752), (3.255,0.687,3.462,0.752), (3.397,0.687,3.462,0.752), (3.397,0.687,3.6,0.752), (3.535,0.687,3.6,0.752), (3.535,0.687,3.6,0.752), (3.535,0.687,3.6,0.752), (3.535,0.687,3.737,0.752), (3.672,0.687,3.737,0.752), (3.672,0.687,3.737,0.752), (3.672,0.687,3.737,0.752), (3.672,0.687,3.757,0.752), (3.692,0.687,3.827,0.752), (3.727,0.687,3.792,0.752), (4.452,0.687,4.597,0.76), (4.487,0.687,4.552,0.752), (4.672,0.687,4.807,0.752), (4.707,0.687,4.772,0.752), (4.742,0.687,4.842,0.752), (4.777,0.687,4.842,0.752), (4.777,0.687,5.012,0.752), (4.947,0.687,5.012,0.752), (4.947,0.687,5.012,0.752), (4.947,0.687,5.012,0.752), (4.947,0.687,5.18,0.752), (5.115,0.687,5.25,0.752), (5.115,0.687,5.18,0.752), (5.185,0.687,5.25,0.752), (5.185,0.687,5.317,0.752), (5.252,0.687,5.387,0.752), (5.322,0.687,5.387,0.752), (5.322,0.687,5.387,0.752), (5.322,0.687,5.6,0.752), (5.535,0.687,5.6,0.752), (5.535,0.687,5.6,0.752), (5.535,0.687,5.6,0.752), (5.535,0.687,5.772,0.752), (5.707,0.687,5.772,0.752), (5.707,0.687,5.772,0.752), (5.707,0.687,5.772,0.752), (5.707,0.687,5.91,0.752), (5.845,0.687,5.91,0.752), (5.845,0.687,6.01,0.752), (5.945,0.687,6.01,0.752), (5.945,0.687,6.072,0.752), (6.007,0.687,6.142,0.752), (6.36,0.687,6.507,0.757), (6.407,0.687,6.472,0.752), (7.14,0.687,7.287,0.757), (7.187,0.687,7.252,0.752), (7.455,0.92,7.52,1.195), (7.642,0.92,7.712,1.195), (7.647,0.92,7.712,0.985), (7.647,0.92,7.727,0.985), (7.647,0.967,7.712,1.032), (6.692,1.06,6.757,1.195), (7.072,1.06,7.137,1.195), (6.692,1.13,6.757,1.35), (7.072,1.13,7.137,1.35), (7.455,1.13,7.52,1.35), (0,1.285,7.76,1.4)])
R(complex109, boundary, [(0,0,7.76,1.4)])
complex109.add(gdstk.Label('A', (7.22,0.72), layer=11, texttype=0))
complex109.add(gdstk.Label('B', (0.18,0.58), layer=11, texttype=0))
complex109.add(gdstk.Label('C', (1.84,0.72), layer=11, texttype=0))
complex109.add(gdstk.Label('D', (3.76,0.72), layer=11, texttype=0))
complex109.add(gdstk.Label('E', (2.12,0.72), layer=11, texttype=0))
complex109.add(gdstk.Label('F', (4.74,0.72), layer=11, texttype=0))
complex109.add(gdstk.Label('G', (6.44,0.72), layer=11, texttype=0))
complex109.add(gdstk.Label('H', (4.52,0.72), layer=11, texttype=0))
complex109.add(gdstk.Label('Y', (7.68,1), layer=11, texttype=0))
complex109.add(gdstk.Label('VCC', (0,1.4), layer=11, texttype=0))
complex109.add(gdstk.Label('GND', (0,0), layer=11, texttype=0))

lib.write_gds('COMPLEX109.gds')
